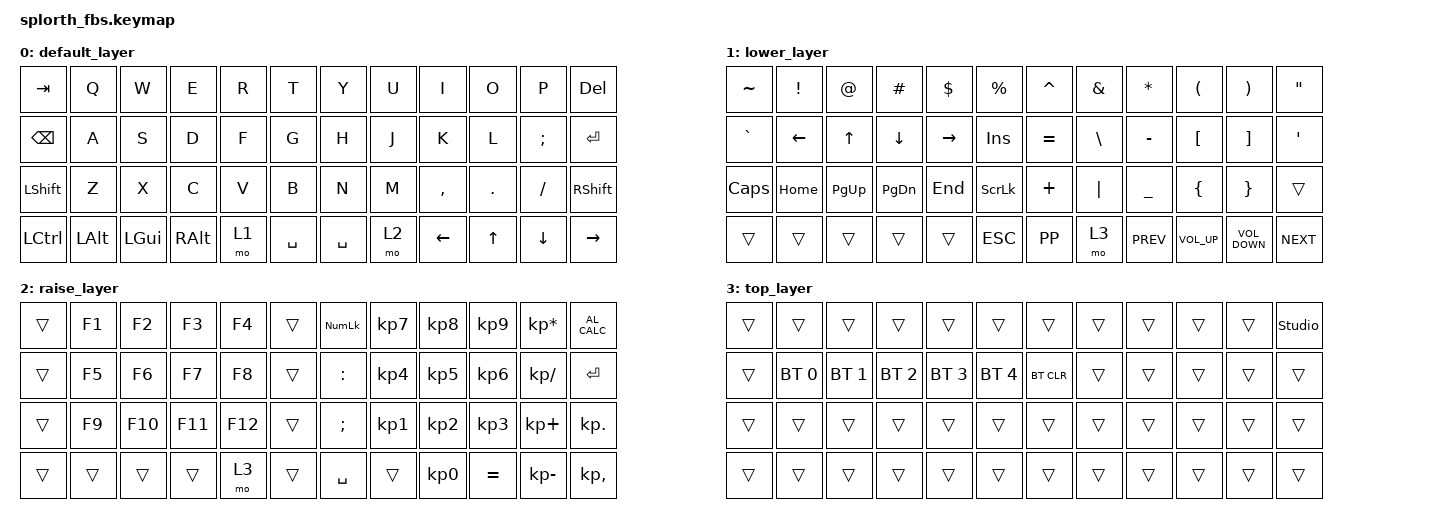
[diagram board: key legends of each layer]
// This file was generated from a template. Edit it to match your keyboard.
// See https://zmk.dev/docs/development/hardware-integration/new-shield for more instructions.

#include <behaviors.dtsi>
#include <dt-bindings/zmk/keys.h>

/ {
    // Define a default keymap here.
    // See https://zmk.dev/docs/development/hardware-integration/new-shield#default-keymap.
    keymap {
        compatible = "zmk,keymap";

        default_layer {
            // ----------------------------------------------------------------------------------
            // |  TAB |  Q  |  W  |  E  |  R  |  T  |   |  Y  |  U  |  I   |  O  |  P   | DEL   |
            // | BKSP |  A  |  S  |  D  |  F  |  G  |   |  H  |  J  |  K   |  L  |  ;   | ENT   |
            // | SHFT |  Z  |  X  |  C  |  V  |  B  |   |  N  |  M  |  ,   |  .  |  /   | SHFT  |
            // | CTRL | ALT | GUI | RALT| LWR | SPC |   | SPC | RSE | LEFT | UP  | DOWN | RIGHT |
            // ----------------------------------------------------------------------------------
            bindings = <
                &kp TAB    &kp Q     &kp W     &kp E     &kp R  &kp T        &kp Y      &kp U   &kp I      &kp O    &kp P     &kp DEL
                &kp BSPC   &kp A     &kp S     &kp D     &kp F  &kp G        &kp H      &kp J   &kp K      &kp L    &kp SEMI  &kp RET
                &kp LSHFT  &kp Z     &kp X     &kp C     &kp V  &kp B        &kp N      &kp M   &kp COMMA  &kp DOT  &kp FSLH  &kp RSHFT
                &kp LCTRL  &kp LALT  &kp LGUI  &kp RALT  &mo 1  &kp SPC      &kp SPACE  &mo 2   &kp LEFT   &kp UP   &kp DOWN  &kp RIGHT
            >;
        };

        lower_layer {
            // -------------------------------------------------------------------------------------------
            // |  ~   |  !   |  @   |  #     |   $   |  %   |   |  ^   |  &  |  *   |  (   |  )   |  "   |
            // |  `   | LEFT |  UP  |  DOWN  | RIGHT | INS  |   |  =   |  \  |  -   |  [   |  ]   |  '   |
            // | CAPS | HOME | PGUP | PGDOWN |  END  | SLCK |   |  +   | "|" |  _   |  {   |  }   |      |
            // |      |      |      |        |       | ESC  |   | Play | TOP | Prev | Vol+ | Vol- | Next |
            // -------------------------------------------------------------------------------------------
            bindings = <
                &kp TILDE  &kp EXCL  &kp AT     &kp HASH   &kp DLLR   &kp PRCNT      &kp CARET  &kp AMPS  &kp ASTRK   &kp LPAR      &kp RPAR        &kp DQT
                &kp GRAVE  &kp LEFT  &kp UP     &kp DOWN   &kp RIGHT  &kp INS        &kp EQUAL  &kp BSLH  &kp MINUS   &kp LBKT      &kp RBKT        &kp SQT
                &kp CAPS   &kp HOME  &kp PG_UP  &kp PG_DN  &kp END    &kp SLCK       &kp PLUS   &kp PIPE  &kp UNDER   &kp LBRC      &kp RBRC        &trans
                &trans     &trans    &trans     &trans     &trans     &ESC           &kp K_PP   &mo 3     &kp K_PREV  &kp K_VOL_UP  &kp K_VOL_DOWN  &kp K_NEXT
            >;
        };

        raise_layer {
            // -------------------------------------------------------------------------------
            // |     | F1  | F2  | F3  | F4  |    |   | NLOCK |  7  |  8  |  9  |  *  | CALC |
            // |     | F5  | F6  | F7  | F8  |    |   |   :   |  4  |  5  |  6  |  /  |  RET |
            // |     | F9  | F10 | F11 | F12 |    |   |   ;   |  1  |  2  |  3  |  +  |  .   |
            // |     |     |    |      | TOP |    |   |  SPC  |     |  0  |  =  |  -  |  ,   |
            // -------------------------------------------------------------------------------
            bindings = <
                &trans  &kp F1  &kp F2   &kp F3   &kp F4   &trans      &kp KP_NLCK  &kp KP_N7  &kp KP_N8  &kp KP_N9  &kp KP_MULTIPLY  &kp C_AL_CALC
                &trans  &kp F5  &kp F6   &kp F7   &kp F8   &trans      &kp COLON    &kp KP_N4  &kp KP_N5  &kp KP_N6  &kp KP_DIVIDE    &kp RET
                &trans  &kp F9  &kp F10  &kp F11  &kp F12  &trans      &kp SEMI     &kp KP_N1  &kp KP_N2  &kp KP_N3  &kp KP_PLUS      &kp KP_DOT
                &trans  &trans  &trans   &trans   &mo 3    &trans      &kp SPACE    &trans     &kp KP_N0  &kp EQUAL  &kp KP_MINUS     &kp KP_COMMA
            >;
        };

        top_layer {
            // ------------------------------------------------------------------------------
            // |    |     |     |     |     |     |   |        |    |     |     |     |     |
            // |    | BT1 | BT2 | BT3 | BT4 | BT5 |   | BLTCLR |    |     |     |     |     |
            // |    |     |     |     |     |     |   |        |    |     |     |     |     |
            //                  |     |     |     |   |        |    |     |
            // ------------------------------------------------------------------------------
            bindings = <
                &trans  &trans        &trans        &trans        &trans        &trans            &trans      &trans  &trans  &trans  &trans  &studio_unlock
                &trans  &bt BT_SEL 0  &bt BT_SEL 1  &bt BT_SEL 2  &bt BT_SEL 3  &bt BT_SEL 4      &bt BT_CLR  &trans  &trans  &trans  &trans  &trans
                &trans  &trans        &trans        &trans        &trans        &trans            &trans      &trans  &trans  &trans  &trans  &trans
                &trans  &trans        &trans        &trans        &trans        &trans            &trans      &trans  &trans  &trans  &trans  &trans
            >;
        };
    };
};
